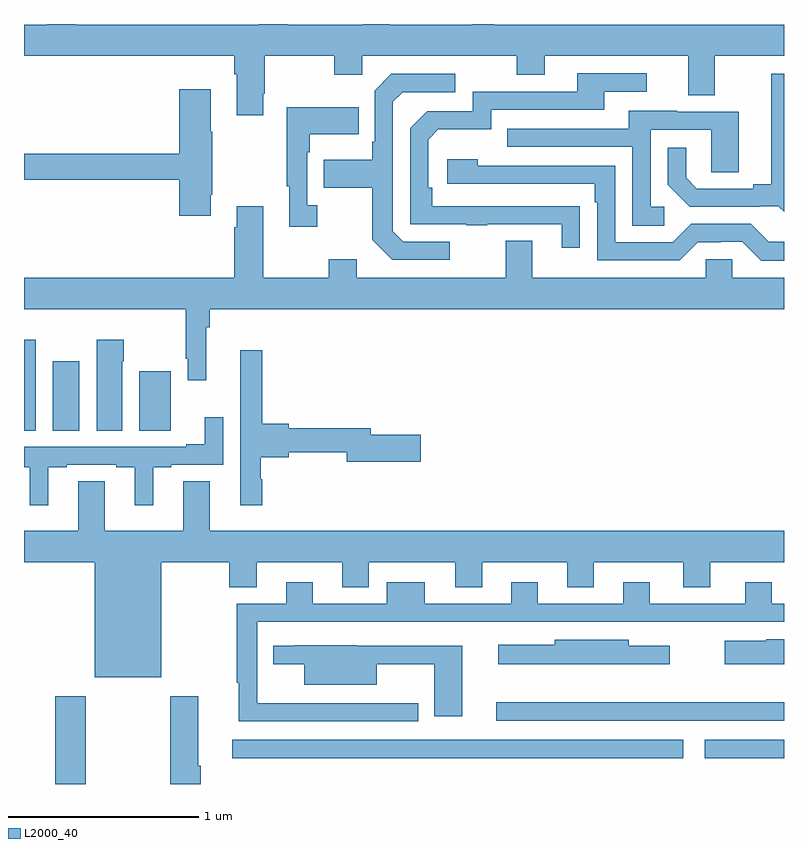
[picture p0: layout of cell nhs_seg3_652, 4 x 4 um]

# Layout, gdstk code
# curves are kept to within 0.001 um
import gdstk
lib = gdstk.Library(unit=1e-6, precision=1e-09)
def R(c, l, rs):  # rectangles x0, y0, x1, y1
    for r in rs: c.add(gdstk.rectangle(r[:2], r[2:], *l))
def P(c, l, *ps):  # polygons
    for p in ps: c.add(gdstk.Polygon(p, *l))
L2000_40 = (2000, 40)

nhs_seg3_652 = lib.new_cell('nhs_seg3_652')
R(nhs_seg3_652, L2000_40, [(143.165,714.4,143.325,714.862), (144.096,714.536,146.47,714.633), (146.583,714.536,147,714.633), (145.485,714.732,147,714.83), (143,716.26,143.062,716.737), (143.15,716.26,143.29,716.626), (143.606,716.26,143.773,716.572)])
P(nhs_seg3_652, L2000_40, [(144.259,718.033),(144.267,718.033),(144.267,718.232),(144.634,718.232),(144.634,718.133),(144.78,718.133),(144.78,718.232),(145.594,718.232),(145.594,718.133),(145.741,718.133),(145.741,718.232),(146.495,718.232),(146.495,718.024),(146.635,718.024),(146.635,718.232),(147,718.232),(147,718.396),(145.475,718.396),(145.475,718.4),(145.359,718.4),(145.359,718.396),(144.925,718.396),(144.925,718.4),(144.785,718.4),(144.785,718.396),(144.387,718.396),(144.387,718.4),(144.235,718.4),(144.235,718.396),(143.275,718.396),(143.275,718.4),(143.123,718.4),(143.123,718.396),(143,718.396),(143,718.232),(144.107,718.232),(144.107,718.136),(144.119,718.136),(144.119,717.921),(144.259,717.921)],
  [(145.925,717.44),(145.148,717.441),(145.148,717.538),(145.128,717.538),(145.128,717.792),(145.181,717.845),(145.458,717.845),(145.458,717.948),(146.053,717.948),(146.053,718.044),(146.278,718.044),(146.278,718.14),(145.913,718.14),(145.913,718.044),(145.362,718.044),(145.362,717.942),(145.122,717.942),(145.032,717.852),(145.032,717.345),(145.327,717.345),(145.327,717.34),(145.439,717.34),(145.439,717.345),(145.829,717.345),(145.829,717.222),(145.925,717.222)],
  [(145.24,717.255),(144.996,717.255),(144.942,717.309),(144.942,717.99),(144.993,718.041),(145.27,718.041),(145.27,718.137),(144.933,718.137),(144.846,718.05),(144.846,717.781),(144.834,717.781),(144.834,717.685),(144.577,717.685),(144.577,717.538),(144.834,717.538),(144.834,717.265),(144.939,717.159),(145.24,717.159)],
  [(147,718.137),(146.933,718.137),(146.933,717.557),(146.837,717.557),(146.837,717.534),(146.542,717.534),(146.485,717.591),(146.485,717.748),(146.388,717.748),(146.388,717.554),(146.504,717.438),(146.876,717.438),(146.876,717.441),(146.97,717.441),(147,717.411)],
  [(143.983,717.502),(143.991,717.502),(143.991,717.833),(143.983,717.833),(143.983,718.057),(143.816,718.057),(143.816,717.716),(143,717.716),(143,717.58),(143.816,717.58),(143.816,717.39),(143.983,717.39)],
  [(144.544,717.446),(144.492,717.446),(144.492,717.725),(144.505,717.725),(144.505,717.821),(144.761,717.821),(144.761,717.961),(144.384,717.961),(144.384,717.545),(144.395,717.545),(144.395,717.333),(144.544,717.333)],
  [(146.371,717.438),(146.298,717.438),(146.298,717.843),(146.616,717.843),(146.616,717.619),(146.761,717.619),(146.761,717.939),(146.437,717.939),(146.437,717.943),(146.183,717.943),(146.183,717.849),(145.543,717.849),(145.543,717.753),(146.202,717.753),(146.202,717.337),(146.371,717.337)],
  [(147,717.255),(146.919,717.255),(146.826,717.348),(146.511,717.348),(146.415,717.252),(146.112,717.252),(146.112,717.654),(145.388,717.654),(145.388,717.688),(145.227,717.688),(145.227,717.558),(146.003,717.558),(146.003,717.461),(146.016,717.461),(146.016,717.156),(146.451,717.156),(146.547,717.252),(146.666,717.252),(146.666,717.255),(146.781,717.255),(146.881,717.155),(147,717.155)],
  [(143.96,716.804),(143.978,716.804),(143.978,716.9),(147,716.9),(147,717.064),(146.727,717.064),(146.727,717.162),(146.589,717.162),(146.589,717.064),(145.675,717.064),(145.675,717.259),(145.535,717.259),(145.535,717.064),(144.751,717.064),(144.751,717.163),(144.604,717.163),(144.604,717.064),(144.259,717.064),(144.259,717.442),(144.119,717.442),(144.119,717.329),(144.107,717.329),(144.107,717.064),(143,717.064),(143,716.9),(143.85,716.9),(143.85,716.638),(143.862,716.638),(143.862,716.526),(143.96,716.526)],
  [(143.518,716.624),(143.526,716.624),(143.526,716.737),(143.384,716.737),(143.384,716.26),(143.518,716.26)],
  [(144.254,716.004),(144.247,716.004),(144.247,716.119),(144.394,716.119),(144.394,716.145),(144.698,716.145),(144.698,716.095),(145.087,716.095),(145.087,716.237),(144.826,716.237),(144.826,716.273),(144.394,716.273),(144.394,716.297),(144.254,716.297),(144.254,716.683),(144.137,716.683),(144.137,716.38),(144.138,716.38),(144.138,715.866),(144.254,715.866)],
  [(143.128,716.067),(143.224,716.067),(143.224,716.079),(143.486,716.079),(143.486,716.067),(143.582,716.067),(143.582,715.866),(143.68,715.866),(143.68,716.067),(143.776,716.067),(143.776,716.079),(144.048,716.079),(144.048,716.329),(143.951,716.329),(143.951,716.188),(143.855,716.188),(143.855,716.175),(143,716.175),(143,716.067),(143.03,716.067),(143.03,715.866),(143.128,715.866)],
  [(143.722,715.568),(144.079,715.568),(144.079,715.435),(144.226,715.435),(144.226,715.568),(144.674,715.568),(144.674,715.435),(144.814,715.435),(144.814,715.568),(145.271,715.568),(145.271,715.435),(145.411,715.435),(145.411,715.568),(145.859,715.568),(145.859,715.435),(145.999,715.435),(145.999,715.568),(146.471,715.568),(146.471,715.435),(146.611,715.435),(146.611,715.568),(147,715.568),(147,715.732),(143.977,715.732),(143.977,715.994),(143.837,715.994),(143.837,715.732),(143.425,715.732),(143.425,715.994),(143.285,715.994),(143.285,715.732),(143,715.732),(143,715.568),(143.372,715.568),(143.372,714.962),(143.722,714.962)],
  [(145.075,714.825),(144.228,714.825),(144.228,715.254),(147,715.254),(147,715.35),(146.935,715.35),(146.935,715.462),(146.795,715.462),(146.795,715.35),(146.293,715.35),(146.293,715.462),(146.153,715.462),(146.153,715.35),(145.705,715.35),(145.705,715.462),(145.565,715.462),(145.565,715.35),(145.108,715.35),(145.108,715.462),(144.908,715.462),(144.908,715.35),(144.52,715.35),(144.52,715.462),(144.38,715.462),(144.38,715.35),(144.12,715.35),(144.12,714.932),(144.131,714.932),(144.131,714.729),(145.075,714.729)],
  [(147,715.162),(146.907,715.162),(146.907,715.153),(146.688,715.153),(146.688,715.031),(147,715.031)],
  [(146.398,715.128),(146.184,715.128),(146.184,715.159),(145.794,715.159),(145.794,715.132),(145.497,715.132),(145.497,715.031),(146.398,715.031)],
  [(145.306,715.128),(144.752,715.128),(144.752,715.129),(144.424,715.129),(144.424,715.127),(144.313,715.127),(144.313,715.031),(144.476,715.031),(144.476,714.923),(144.856,714.923),(144.856,715.031),(145.16,715.031),(145.16,714.756),(145.306,714.756)],
  [(143.93,714.496),(143.917,714.496),(143.917,714.862),(143.77,714.862),(143.77,714.4),(143.93,714.4)])

lib.write_gds('nhs_seg3_652.gds')
